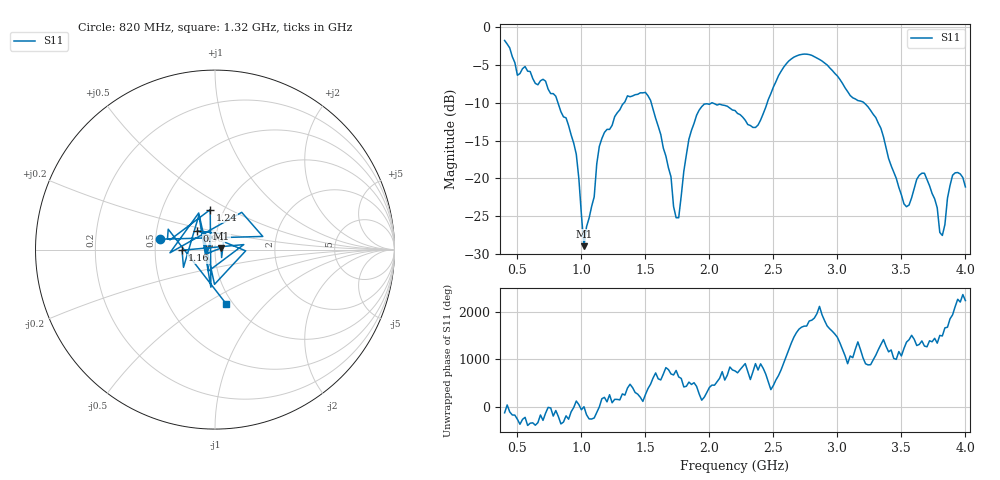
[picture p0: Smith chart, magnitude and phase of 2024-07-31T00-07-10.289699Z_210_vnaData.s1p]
!Created with skrf (http://scikit-rf.org).
# Hz S RI R 50.0
!freq ReS11 ImS11
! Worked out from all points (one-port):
!   181 points, 400 MHz to 4 GHz, reference 50 ohm
!   lowest |S11| = -29.0 dB at 1.02 GHz (marker M1), VSWR 1.07, Z = 53.5 + j0.942 ohm
!   |S11| at or under -10 dB: 816.7 MHz to 1.333 GHz (516.2 MHz wide, 48 % of centre); 1.546 GHz to 2.018 GHz (472.2 MHz wide, 26.5 % of centre); 3.208 GHz to end of sweep (the widest 3 of 4)
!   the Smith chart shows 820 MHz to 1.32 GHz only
!   S11 on the Smith chart (normalised r, x): 820 MHz: 0.53, +0.07; 960 MHz: 0.80, +0.17; 1.16 GHz: 0.69, -0.01; 1.24 GHz: 0.86, +0.40; 1.32 GHz: 0.93, -0.62
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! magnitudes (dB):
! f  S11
! 400 MHz  -1.7
! 500 MHz  -6.3
! 560 MHz  -5.2
! 820 MHz  -10.2
! 860 MHz  -11.9
! 960 MHz  -16.8
! 1.02 GHz  -29.0
! 1.1 GHz  -22.5
! 1.16 GHz  -14.7
! 1.24 GHz  -13.0
! 1.3 GHz  -10.9
! 1.32 GHz  -10.2
! 1.54 GHz  -9.7
! 1.76 GHz  -25.2
! 1.84 GHz  -14.8
! 1.92 GHz  -11.0
! 2.2 GHz  -11.0
! 2.36 GHz  -13.3
! 2.66 GHz  -3.9
! 2.88 GHz  -4.5
! 3.1 GHz  -9.0
! 3.3 GHz  -11.9
! 3.52 GHz  -23.4
! 3.56 GHz  -23.5
! 3.68 GHz  -19.3
! 3.82 GHz  -27.6
! 3.9 GHz  -19.6
! 4 GHz  -21.1
